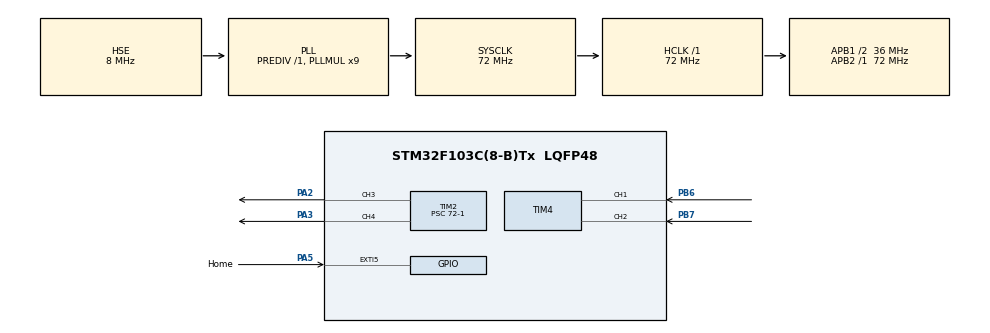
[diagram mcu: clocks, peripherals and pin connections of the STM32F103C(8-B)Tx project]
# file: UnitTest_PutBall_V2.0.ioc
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FREERTOS.Tasks01=logicTask,0,128,StartLogicTask,Default,NULL,Dynamic,NULL,NULL
Mcu.Family=STM32F1
Mcu.Name=STM32F103C(8-B)Tx
Mcu.Package=LQFP48
NVIC.PriorityGroup=NVIC_PRIORITYGROUP_4
NVIC.TIM4_IRQn=true\:5\:0\:false\:false\:true\:true\:true\:true\:true
PA13.Mode=Serial_Wire
PA13.Signal=SYS_JTMS-SWDIO
PA14.Mode=Serial_Wire
PA14.Signal=SYS_JTCK-SWCLK
PA2.Signal=S_TIM2_CH3
PA3.Signal=S_TIM2_CH4
PA5.GPIO_Label=Home
PA5.Signal=GPXTI5
PB6.Signal=S_TIM4_CH1
PB7.Signal=S_TIM4_CH2
PD0-OSC_IN.Mode=HSE-External-Oscillator
PD0-OSC_IN.Signal=RCC_OSC_IN
PD1-OSC_OUT.Mode=HSE-External-Oscillator
PD1-OSC_OUT.Signal=RCC_OSC_OUT
ProjectManager.HeapSize=0x200
ProjectManager.StackSize=0x400
ProjectManager.TargetToolchain=STM32CubeIDE
RCC.AHBFreq_Value=72000000
RCC.APB1CLKDivider=RCC_HCLK_DIV2
RCC.APB1Freq_Value=36000000
RCC.APB1TimFreq_Value=72000000
RCC.APB2Freq_Value=72000000
RCC.APB2TimFreq_Value=72000000
RCC.HCLKFreq_Value=72000000
RCC.PLLMUL=RCC_PLL_MUL9
RCC.PLLSourceVirtual=RCC_PLLSOURCE_HSE
RCC.SYSCLKFreq_VALUE=72000000
RCC.SYSCLKSource=RCC_SYSCLKSOURCE_PLLCLK
RCC.USBFreq_Value=72000000
SH.S_TIM2_CH3.0=TIM2_CH3,PWM Generation3 CH3
SH.S_TIM2_CH4.0=TIM2_CH4,PWM Generation4 CH4
SH.S_TIM4_CH1.0=TIM4_CH1,Encoder_Interface
SH.S_TIM4_CH2.0=TIM4_CH2,Encoder_Interface
TIM2.Channel-PWM\ Generation3\ CH3=TIM_CHANNEL_3
TIM2.Channel-PWM\ Generation4\ CH4=TIM_CHANNEL_4
TIM2.Period=1000-1
TIM2.Prescaler=72-1
TIM4.EncoderMode=TIM_ENCODERMODE_TI12
VP_FREERTOS_VS_CMSIS_V1.Mode=CMSIS_V1
VP_TIM2_VS_ClockSourceINT.Mode=Internal
board=custom

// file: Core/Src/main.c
/* USER CODE BEGIN Header */
/**
  ******************************************************************************
  * @file           : main.c
  * @brief          : Main program body
  ******************************************************************************
  * @attention
  *
  * Copyright (c) 2024 STMicroelectronics.
  * All rights reserved.
  *
  * This software is licensed under terms that can be found in the LICENSE file
  * in the root directory of this software component.
  * If no LICENSE file comes with this software, it is provided AS-IS.
  *
  ******************************************************************************
  */
/* USER CODE END Header */
#include "main.h"
#include "cmsis_os.h"

/* USER CODE BEGIN Includes */
#include "DriveMotor.h"
#include "Encoder.h"
#include "stdlib.h"
/* USER CODE END Includes */

TIM_HandleTypeDef htim2;
TIM_HandleTypeDef htim4;

osThreadId logicTaskHandle;
/* USER CODE BEGIN PV */
int16_t PWM;
uint8_t status;
uint16_t cnt = 0;
uint8_t holdBall = 0;
uint8_t setHome = 0;

MotorDrive DC;
EncoderRead ENC_DC;
/* USER CODE END PV */

void SystemClock_Config(void);
static void MX_GPIO_Init(void);
static void MX_TIM2_Init(void);
static void MX_TIM4_Init(void);
void StartLogicTask(void const * argument);

/* USER CODE BEGIN 0 */
void setHomeManual()
{
	// when the bottom limit switch isn't enable (manual set home)
	// the structure will be rolling down about 5000ms
	DC_Drive_BTS(&DC, &htim2, 1000, -50, TIM_CHANNEL_3, TIM_CHANNEL_4);
	osDelay(5000);
	// after bottom limit switch enabled, the motor will not supplied PWM (limit breaking the structure)
	DC_Drive_BTS(&DC, &htim2, 1000, 0, TIM_CHANNEL_3, TIM_CHANNEL_4);
	// reset the encoder for the next using
	ResetCount(&ENC_DC, 1);
	// set home flag is enable
	setHome |= 1;
}

/* USER CODE END 0 */

int main(void)
{

  /* MCU Configuration--------------------------------------------------------*/

  /* Reset of all peripherals, Initializes the Flash interface and the Systick. */
  HAL_Init();

  /* Configure the system clock */
  SystemClock_Config();

  /* Initialize all configured peripherals */
  MX_GPIO_Init();
  MX_TIM2_Init();
  MX_TIM4_Init();
  /* USER CODE BEGIN 2 */
  HAL_TIM_PWM_Start(&htim2, TIM_CHANNEL_3);
  HAL_TIM_PWM_Start(&htim2, TIM_CHANNEL_4);
  HAL_TIM_Encoder_Start_IT(&htim4, TIM_CHANNEL_ALL);

  EncoderSetting(&ENC_DC, &htim4, 19200, 0.001);
  /* USER CODE END 2 */

  /* Create the thread(s) */
  /* definition and creation of logicTask */
  osThreadDef(logicTask, StartLogicTask, osPriorityNormal, 0, 128);
  logicTaskHandle = osThreadCreate(osThread(logicTask), NULL);

  /* Start scheduler */
  osKernelStart();

  /* We should never get here as control is now taken by the scheduler */
  /* Infinite loop */
  while (1)
  {

  }
}

void SystemClock_Config(void)
{
  RCC_OscInitTypeDef RCC_OscInitStruct = {0};
  RCC_ClkInitTypeDef RCC_ClkInitStruct = {0};

  /** Initializes the RCC Oscillators according to the specified parameters
  * in the RCC_OscInitTypeDef structure.
  */
  RCC_OscInitStruct.OscillatorType = RCC_OSCILLATORTYPE_HSE;
  RCC_OscInitStruct.HSEState = RCC_HSE_ON;
  RCC_OscInitStruct.HSEPredivValue = RCC_HSE_PREDIV_DIV1;
  RCC_OscInitStruct.HSIState = RCC_HSI_ON;
  RCC_OscInitStruct.PLL.PLLState = RCC_PLL_ON;
  RCC_OscInitStruct.PLL.PLLSource = RCC_PLLSOURCE_HSE;
  RCC_OscInitStruct.PLL.PLLMUL = RCC_PLL_MUL9;
  if (HAL_RCC_OscConfig(&RCC_OscInitStruct) != HAL_OK)
  {
    Error_Handler();
  }

  /** Initializes the CPU, AHB and APB buses clocks
  */
  RCC_ClkInitStruct.ClockType = RCC_CLOCKTYPE_HCLK|RCC_CLOCKTYPE_SYSCLK
                              |RCC_CLOCKTYPE_PCLK1|RCC_CLOCKTYPE_PCLK2;
  RCC_ClkInitStruct.SYSCLKSource = RCC_SYSCLKSOURCE_PLLCLK;
  RCC_ClkInitStruct.AHBCLKDivider = RCC_SYSCLK_DIV1;
  RCC_ClkInitStruct.APB1CLKDivider = RCC_HCLK_DIV2;
  RCC_ClkInitStruct.APB2CLKDivider = RCC_HCLK_DIV1;

  if (HAL_RCC_ClockConfig(&RCC_ClkInitStruct, FLASH_LATENCY_2) != HAL_OK)
  {
    Error_Handler();
  }
}

static void MX_TIM2_Init(void)
{

  TIM_ClockConfigTypeDef sClockSourceConfig = {0};
  TIM_MasterConfigTypeDef sMasterConfig = {0};
  TIM_OC_InitTypeDef sConfigOC = {0};

  htim2.Instance = TIM2;
  htim2.Init.Prescaler = 72-1;
  htim2.Init.CounterMode = TIM_COUNTERMODE_UP;
  htim2.Init.Period = 1000-1;
  htim2.Init.ClockDivision = TIM_CLOCKDIVISION_DIV1;
  htim2.Init.AutoReloadPreload = TIM_AUTORELOAD_PRELOAD_DISABLE;
  if (HAL_TIM_Base_Init(&htim2) != HAL_OK)
  {
    Error_Handler();
  }
  sClockSourceConfig.ClockSource = TIM_CLOCKSOURCE_INTERNAL;
  if (HAL_TIM_ConfigClockSource(&htim2, &sClockSourceConfig) != HAL_OK)
  {
    Error_Handler();
  }
  if (HAL_TIM_PWM_Init(&htim2) != HAL_OK)
  {
    Error_Handler();
  }
  sMasterConfig.MasterOutputTrigger = TIM_TRGO_RESET;
  sMasterConfig.MasterSlaveMode = TIM_MASTERSLAVEMODE_DISABLE;
  if (HAL_TIMEx_MasterConfigSynchronization(&htim2, &sMasterConfig) != HAL_OK)
  {
    Error_Handler();
  }
  sConfigOC.OCMode = TIM_OCMODE_PWM1;
  sConfigOC.Pulse = 0;
  sConfigOC.OCPolarity = TIM_OCPOLARITY_HIGH;
  sConfigOC.OCFastMode = TIM_OCFAST_DISABLE;
  if (HAL_TIM_PWM_ConfigChannel(&htim2, &sConfigOC, TIM_CHANNEL_3) != HAL_OK)
  {
    Error_Handler();
  }
  if (HAL_TIM_PWM_ConfigChannel(&htim2, &sConfigOC, TIM_CHANNEL_4) != HAL_OK)
  {
    Error_Handler();
  }
  HAL_TIM_MspPostInit(&htim2);

}

static void MX_TIM4_Init(void)
{

  TIM_Encoder_InitTypeDef sConfig = {0};
  TIM_MasterConfigTypeDef sMasterConfig = {0};

  htim4.Instance = TIM4;
  htim4.Init.Prescaler = 0;
  htim4.Init.CounterMode = TIM_COUNTERMODE_UP;
  htim4.Init.Period = 65535;
  htim4.Init.ClockDivision = TIM_CLOCKDIVISION_DIV1;
  htim4.Init.AutoReloadPreload = TIM_AUTORELOAD_PRELOAD_DISABLE;
  sConfig.EncoderMode = TIM_ENCODERMODE_TI12;
  sConfig.IC1Polarity = TIM_ICPOLARITY_RISING;
  sConfig.IC1Selection = TIM_ICSELECTION_DIRECTTI;
  sConfig.IC1Prescaler = TIM_ICPSC_DIV1;
  sConfig.IC1Filter = 0;
  sConfig.IC2Polarity = TIM_ICPOLARITY_RISING;
  sConfig.IC2Selection = TIM_ICSELECTION_DIRECTTI;
  sConfig.IC2Prescaler = TIM_ICPSC_DIV1;
  sConfig.IC2Filter = 0;
  if (HAL_TIM_Encoder_Init(&htim4, &sConfig) != HAL_OK)
  {
    Error_Handler();
  }
  sMasterConfig.MasterOutputTrigger = TIM_TRGO_RESET;
  sMasterConfig.MasterSlaveMode = TIM_MASTERSLAVEMODE_DISABLE;
  if (HAL_TIMEx_MasterConfigSynchronization(&htim4, &sMasterConfig) != HAL_OK)
  {
    Error_Handler();
  }

}

static void MX_GPIO_Init(void)
{
  GPIO_InitTypeDef GPIO_InitStruct = {0};

  /* GPIO Ports Clock Enable */
  __HAL_RCC_GPIOD_CLK_ENABLE();
  __HAL_RCC_GPIOA_CLK_ENABLE();
  __HAL_RCC_GPIOB_CLK_ENABLE();

  /*Configure GPIO pin : Home_Pin */
  GPIO_InitStruct.Pin = Home_Pin;
  GPIO_InitStruct.Mode = GPIO_MODE_IT_RISING;
  GPIO_InitStruct.Pull = GPIO_NOPULL;
  HAL_GPIO_Init(Home_GPIO_Port, &GPIO_InitStruct);

}

void StartLogicTask(void const * argument)
{
  for(;;)
  {
	osDelay(1);
  }
}

void Error_Handler(void)
{
  __disable_irq();
  while (1)
  {
  }
}
